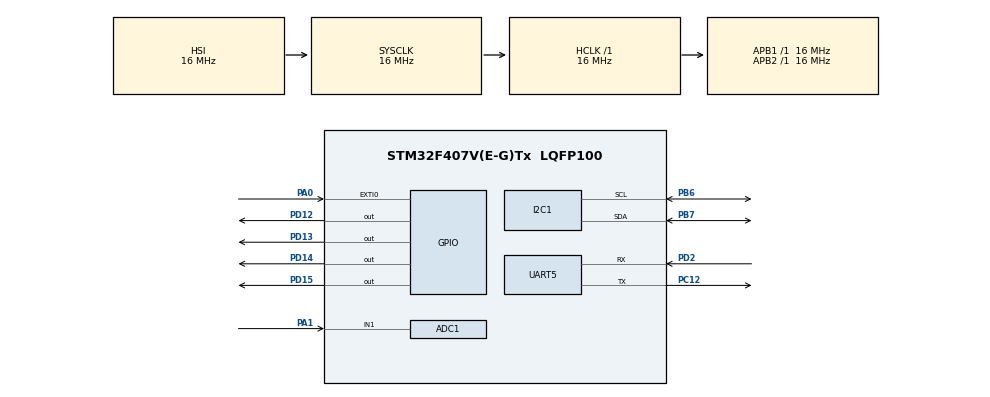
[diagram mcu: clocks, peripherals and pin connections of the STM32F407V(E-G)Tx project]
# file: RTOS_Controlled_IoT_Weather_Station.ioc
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ADC1.Channel-0\#ChannelRegularConversion=ADC_CHANNEL_1
ADC1.NbrOfConversionFlag=1
ADC1.Rank-0\#ChannelRegularConversion=1
ADC1.SamplingTime-0\#ChannelRegularConversion=ADC_SAMPLETIME_3CYCLES
ADC1.master=1
Dma.Request0=UART5_RX
Dma.Request1=UART5_TX
Dma.UART5_RX.0.Direction=DMA_PERIPH_TO_MEMORY
Dma.UART5_RX.0.FIFOMode=DMA_FIFOMODE_DISABLE
Dma.UART5_RX.0.Instance=DMA1_Stream0
Dma.UART5_RX.0.MemDataAlignment=DMA_MDATAALIGN_BYTE
Dma.UART5_RX.0.MemInc=DMA_MINC_ENABLE
Dma.UART5_RX.0.Mode=DMA_NORMAL
Dma.UART5_RX.0.PeriphDataAlignment=DMA_PDATAALIGN_BYTE
Dma.UART5_RX.0.PeriphInc=DMA_PINC_DISABLE
Dma.UART5_RX.0.Priority=DMA_PRIORITY_LOW
Dma.UART5_TX.1.Direction=DMA_MEMORY_TO_PERIPH
Dma.UART5_TX.1.FIFOMode=DMA_FIFOMODE_DISABLE
Dma.UART5_TX.1.Instance=DMA1_Stream7
Dma.UART5_TX.1.MemDataAlignment=DMA_MDATAALIGN_BYTE
Dma.UART5_TX.1.MemInc=DMA_MINC_ENABLE
Dma.UART5_TX.1.Mode=DMA_NORMAL
Dma.UART5_TX.1.PeriphDataAlignment=DMA_PDATAALIGN_BYTE
Dma.UART5_TX.1.PeriphInc=DMA_PINC_DISABLE
Dma.UART5_TX.1.Priority=DMA_PRIORITY_LOW
I2C1.AddressingMode=I2C_ADDRESSINGMODE_10BIT
I2C1.OwnAddress=0xEC
Mcu.Family=STM32F4
Mcu.Name=STM32F407V(E-G)Tx
Mcu.Package=LQFP100
NVIC.DMA1_Stream0_IRQn=true\:0\:0\:false\:false\:true\:false\:true\:true
NVIC.DMA1_Stream7_IRQn=true\:0\:0\:false\:false\:true\:false\:true\:true
NVIC.EXTI0_IRQn=true\:0\:0\:false\:false\:true\:true\:true\:true
NVIC.PriorityGroup=NVIC_PRIORITYGROUP_4
NVIC.TIM1_UP_TIM10_IRQn=true\:15\:0\:false\:false\:true\:false\:true\:true
NVIC.TimeBase=TIM1_UP_TIM10_IRQn
NVIC.TimeBaseIP=TIM1
PA0-WKUP.Signal=GPXTI0
PA1.GPIO_PuPd=GPIO_NOPULL
PA1.Signal=ADCx_IN1
PB6.Mode=I2C
PB6.Signal=I2C1_SCL
PB7.Mode=I2C
PB7.Signal=I2C1_SDA
PC12.Mode=Asynchronous
PC12.Signal=UART5_TX
PD12.Signal=GPIO_Output
PD13.Signal=GPIO_Output
PD14.Signal=GPIO_Output
PD15.Signal=GPIO_Output
PD2.Mode=Asynchronous
PD2.Signal=UART5_RX
ProjectManager.HeapSize=0x200
ProjectManager.StackSize=0x400
ProjectManager.TargetToolchain=STM32CubeIDE
RCC.AHBFreq_Value=16000000
RCC.APB1Freq_Value=16000000
RCC.APB2Freq_Value=16000000
RCC.CortexFreq_Value=16000000
RCC.HSE_VALUE=25000000
RCC.HSI_VALUE=16000000
RCC.LSE_VALUE=32768
RCC.SYSCLKFreq_VALUE=16000000
RCC.VCOOutputFreq_Value=192000000
SH.ADCx_IN1.0=ADC1_IN1,IN1
UART5.VirtualMode=Asynchronous
VP_SYS_VS_tim1.Mode=TIM1
board=custom

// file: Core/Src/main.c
/* USER CODE BEGIN Header */
/**
  ******************************************************************************
  * @file           : main.c
  * @brief          : Main program body
  ******************************************************************************
  * @attention
  *
  * Copyright (c) 2025 STMicroelectronics.
  * All rights reserved.
  *
  * This software is licensed under terms that can be found in the LICENSE file
  * in the root directory of this software component.
  * If no LICENSE file comes with this software, it is provided AS-IS.
  *
  ******************************************************************************
  */
/* USER CODE END Header */
#include "main.h"

/* USER CODE BEGIN Includes */
#include "stdio.h"
#include "stdlib.h"
#include "string.h"
#include "math.h"

#include "FreeRTOS.h"
#include "task.h"
#include "timers.h"
#include "queue.h"
#include "semphr.h"
#include "event_groups.h"
#include "SEGGER_SYSVIEW.h"

#include "BME280_STM32.h"
#include "service_api.h"
#include "struct.h"

/* USER CODE END Includes */

/* USER CODE BEGIN PD */
#define DEBUG 1

#define CRC8_POLYNOMIAL 0x07  // Standard SMBus CRC-8
#define CRC8_INIT 0xFF        // Initial CRC value
#define RL 10.0  // Load resistor in kΩ

// CO2 Constants
#define A_CO2 116.6020682
#define B_CO2 -2.769034857
#define R0_CO2 47.50
// Ammonia (NH3) Constants
#define A_NH3 102.2
#define B_NH3 -2.473
#define R0_NH3 1.86
// Ethanol Constants
#define A_Ethanol 77.255
#define B_Ethanol -3.18
#define R0_Ethanol 3.75

/* USER CODE END PD */

ADC_HandleTypeDef hadc1;

I2C_HandleTypeDef hi2c1;

UART_HandleTypeDef huart5;

/* USER CODE BEGIN PV */

// Task Handles
//Sensordata_t SD;//Already defined in struct.h for actual data holding so no need to define here.
Sensordata_t SensorData;//defined in struct.h for data use in the tasks

SemaphoreHandle_t SensorDataMutex;

TaskHandle_t SensorTaskHandle;
TaskHandle_t DisplayTaskHandle;
TaskHandle_t UartTaskHandle;

volatile uint8_t buttonPressed = 0;

char uartBuff[100];

/* USER CODE END PV */

void SystemClock_Config(void);
static void MX_GPIO_Init(void);
static void MX_ADC1_Init(void);
static void MX_I2C1_Init(void);
static void MX_UART5_Init(void);
/* USER CODE BEGIN PFP */
void Task_SensorRead(void *pvParameters);
void Task_DisplayUpdate(void *pvParameters);
void Task_UARTSend(void *pvParameters);

void HAL_GPIO_EXTI_Callback(uint16_t GPIO_Pin);

uint8_t Calculate_CRC8(const uint8_t *data, uint8_t len);
void Write_SensorData(Sensordata_t *data);
void Read_SensorData(Sensordata_t *data);
void HAL_UART_Receive_Service(void);
float calculate_ppm(float, float, float, float);

/* USER CODE END PFP */

int main(void)
{

  /* MCU Configuration--------------------------------------------------------*/

  /* Reset of all peripherals, Initializes the Flash interface and the Systick. */
  HAL_Init();

  /* Configure the system clock */
  SystemClock_Config();

  /* Initialize all configured peripherals */
  MX_GPIO_Init();
  MX_ADC1_Init();
  MX_I2C1_Init();
  MX_UART5_Init();
  /* USER CODE BEGIN 2 */

  SEGGER_SYSVIEW_Conf();
  HAL_NVIC_SetPriorityGrouping(NVIC_PRIORITYGROUP_4);	//ensure proper priority grouping for freeRTOS//?
  HAL_NVIC_SetPriority(SysTick_IRQn, 15, 0);//?

  // Initialize BME280
  BME280_Config(OSRS_2, OSRS_16, OSRS_1, MODE_NORMAL, T_SB_0p5, IIR_16);

  // Create RTOS Queue & Semaphore
  SensorDataMutex = xSemaphoreCreateMutex();
  assert_param(SensorDataMutex!=NULL);

  /* Create RTOS Tasks */
  assert_param(xTaskCreate(Task_SensorRead, "SensorTask", 1024, NULL, 3, &SensorTaskHandle) == pdPASS);
  assert_param(xTaskCreate(Task_DisplayUpdate, "DisplayTask", 1024, NULL, 2, &DisplayTaskHandle) == pdPASS);
  assert_param(xTaskCreate(Task_UARTSend, "UartTask", 1024, NULL, 1, &UartTaskHandle) == pdPASS);

  /* Start Scheduler */
  vTaskStartScheduler();

  /* USER CODE END 2 */

  /* Infinite loop */
  while (1)
  {

  }
}

void SystemClock_Config(void)
{
  RCC_OscInitTypeDef RCC_OscInitStruct = {0};
  RCC_ClkInitTypeDef RCC_ClkInitStruct = {0};

  /** Configure the main internal regulator output voltage
  */
  __HAL_RCC_PWR_CLK_ENABLE();
  __HAL_PWR_VOLTAGESCALING_CONFIG(PWR_REGULATOR_VOLTAGE_SCALE1);

  /** Initializes the RCC Oscillators according to the specified parameters
  * in the RCC_OscInitTypeDef structure.
  */
  RCC_OscInitStruct.OscillatorType = RCC_OSCILLATORTYPE_HSI;
  RCC_OscInitStruct.HSIState = RCC_HSI_ON;
  RCC_OscInitStruct.HSICalibrationValue = RCC_HSICALIBRATION_DEFAULT;
  RCC_OscInitStruct.PLL.PLLState = RCC_PLL_NONE;
  if (HAL_RCC_OscConfig(&RCC_OscInitStruct) != HAL_OK)
  {
    Error_Handler();
  }

  /** Initializes the CPU, AHB and APB buses clocks
  */
  RCC_ClkInitStruct.ClockType = RCC_CLOCKTYPE_HCLK|RCC_CLOCKTYPE_SYSCLK
                              |RCC_CLOCKTYPE_PCLK1|RCC_CLOCKTYPE_PCLK2;
  RCC_ClkInitStruct.SYSCLKSource = RCC_SYSCLKSOURCE_HSI;
  RCC_ClkInitStruct.AHBCLKDivider = RCC_SYSCLK_DIV1;
  RCC_ClkInitStruct.APB1CLKDivider = RCC_HCLK_DIV1;
  RCC_ClkInitStruct.APB2CLKDivider = RCC_HCLK_DIV1;

  if (HAL_RCC_ClockConfig(&RCC_ClkInitStruct, FLASH_LATENCY_0) != HAL_OK)
  {
    Error_Handler();
  }
}

static void MX_ADC1_Init(void)
{

  ADC_ChannelConfTypeDef sConfig = {0};

  /** Configure the global features of the ADC (Clock, Resolution, Data Alignment and number of conversion)
  */
  hadc1.Instance = ADC1;
  hadc1.Init.ClockPrescaler = ADC_CLOCK_SYNC_PCLK_DIV2;
  hadc1.Init.Resolution = ADC_RESOLUTION_12B;
  hadc1.Init.ScanConvMode = DISABLE;
  hadc1.Init.ContinuousConvMode = DISABLE;
  hadc1.Init.DiscontinuousConvMode = DISABLE;
  hadc1.Init.ExternalTrigConvEdge = ADC_EXTERNALTRIGCONVEDGE_NONE;
  hadc1.Init.ExternalTrigConv = ADC_SOFTWARE_START;
  hadc1.Init.DataAlign = ADC_DATAALIGN_RIGHT;
  hadc1.Init.NbrOfConversion = 1;
  hadc1.Init.DMAContinuousRequests = DISABLE;
  hadc1.Init.EOCSelection = ADC_EOC_SINGLE_CONV;
  if (HAL_ADC_Init(&hadc1) != HAL_OK)
  {
    Error_Handler();
  }

  /** Configure for the selected ADC regular channel its corresponding rank in the sequencer and its sample time.
  */
  sConfig.Channel = ADC_CHANNEL_1;
  sConfig.Rank = 1;
  sConfig.SamplingTime = ADC_SAMPLETIME_3CYCLES;
  if (HAL_ADC_ConfigChannel(&hadc1, &sConfig) != HAL_OK)
  {
    Error_Handler();
  }

}

static void MX_I2C1_Init(void)
{

  hi2c1.Instance = I2C1;
  hi2c1.Init.ClockSpeed = 100000;
  hi2c1.Init.DutyCycle = I2C_DUTYCYCLE_2;
  hi2c1.Init.OwnAddress1 = 236;
  hi2c1.Init.AddressingMode = I2C_ADDRESSINGMODE_10BIT;
  hi2c1.Init.DualAddressMode = I2C_DUALADDRESS_DISABLE;
  hi2c1.Init.OwnAddress2 = 0;
  hi2c1.Init.GeneralCallMode = I2C_GENERALCALL_DISABLE;
  hi2c1.Init.NoStretchMode = I2C_NOSTRETCH_DISABLE;
  if (HAL_I2C_Init(&hi2c1) != HAL_OK)
  {
    Error_Handler();
  }

}

static void MX_UART5_Init(void)
{

  huart5.Instance = UART5;
  huart5.Init.BaudRate = 115200;
  huart5.Init.WordLength = UART_WORDLENGTH_8B;
  huart5.Init.StopBits = UART_STOPBITS_1;
  huart5.Init.Parity = UART_PARITY_NONE;
  huart5.Init.Mode = UART_MODE_TX_RX;
  huart5.Init.HwFlowCtl = UART_HWCONTROL_NONE;
  huart5.Init.OverSampling = UART_OVERSAMPLING_16;
  if (HAL_UART_Init(&huart5) != HAL_OK)
  {
    Error_Handler();
  }

}

static void MX_GPIO_Init(void)
{
  GPIO_InitTypeDef GPIO_InitStruct = {0};

  /* GPIO Ports Clock Enable */
  __HAL_RCC_GPIOA_CLK_ENABLE();
  __HAL_RCC_GPIOD_CLK_ENABLE();
  __HAL_RCC_GPIOC_CLK_ENABLE();
  __HAL_RCC_GPIOB_CLK_ENABLE();

  /*Configure GPIO pin Output Level */
  HAL_GPIO_WritePin(GPIOD, GPIO_PIN_12|GPIO_PIN_13|GPIO_PIN_14|GPIO_PIN_15, GPIO_PIN_RESET);

  /*Configure GPIO pin : PA0 */
  GPIO_InitStruct.Pin = GPIO_PIN_0;
  GPIO_InitStruct.Mode = GPIO_MODE_IT_RISING;
  GPIO_InitStruct.Pull = GPIO_NOPULL;
  HAL_GPIO_Init(GPIOA, &GPIO_InitStruct);

  /*Configure GPIO pins : PD12 PD13 PD14 PD15 */
  GPIO_InitStruct.Pin = GPIO_PIN_12|GPIO_PIN_13|GPIO_PIN_14|GPIO_PIN_15;
  GPIO_InitStruct.Mode = GPIO_MODE_OUTPUT_PP;
  GPIO_InitStruct.Pull = GPIO_NOPULL;
  GPIO_InitStruct.Speed = GPIO_SPEED_FREQ_LOW;
  HAL_GPIO_Init(GPIOD, &GPIO_InitStruct);

  /* EXTI interrupt init*/
  HAL_NVIC_SetPriority(EXTI0_IRQn, 0, 0);
  HAL_NVIC_EnableIRQ(EXTI0_IRQn);

}

/* USER CODE BEGIN 4 */
void Task_SensorRead(void *pvParameters)
{
    while (1)
    {
	#ifdef DEBUG
        SEGGER_SYSVIEW_PrintfHost("Task_SensorRead is running");
    #endif

        BME280_Measure();

        SD.ADC_Value = Read_ADC_Value(&hadc1);

        SD.mq135_voltage = ((SD.ADC_Value * 5.0) / 4095.0);
        SD.Rs = ((5.0 - SD.mq135_voltage) / SD.mq135_voltage) * RL;

        SD.Co2     = 10*(calculate_ppm(SD.Rs, R0_CO2, A_CO2, B_CO2));
        SD.NH3     = calculate_ppm(SD.Rs, R0_NH3, A_NH3, B_NH3);
        SD.Ethanol = calculate_ppm(SD.Rs, R0_Ethanol, A_Ethanol, B_Ethanol);
        SD.AQI = ((SD.Co2 / 10) * 0.5) + ((SD.NH3 * 100) * 0.25) + ((SD.Ethanol * 100) * 0.25);

	#ifdef DEBUG
        SEGGER_SYSVIEW_PrintfHost("Sensor Read Collected");
	#endif

        Write_SensorData(&SD);

	#ifdef DEBUG
        SEGGER_SYSVIEW_PrintfHost("T=%.2f,P=%2f,H=.2f,Co2=%.2f,NH3=%2f,Eth=.2f,AQI=%.2f",SD.Temperature,SD.Pressure,SD.Humidity,SD.Co2,SD.NH3,SD.Ethanol,SD.AQI);
	#endif

	#ifdef DEBUG
        SEGGER_SYSVIEW_PrintfHost("Task_SensorRead Complete Before Delay");
	#endif

        vTaskDelay(500);
	#ifdef DEBUG
        SEGGER_SYSVIEW_PrintfHost("Task_SensorRead Complete After Delay");
	#endif
    }
}

void Task_DisplayUpdate(void *pvParameters)
{
    while (1)
    {
	#ifdef DEBUG
        SEGGER_SYSVIEW_PrintfHost("Task_DisplayUpdate Running");
	#endif

        if (buttonPressed)
        {
            // Send button press event to ESP32
            char displayBuff[20];
            snprintf(displayBuff, sizeof(displayBuff), "PAGE=%d", buttonPressed);
            UART_Transmit_Service((uint8_t *)displayBuff, strlen(displayBuff));

	#ifdef DEBUG
            SEGGER_SYSVIEW_PrintfHost("Button Press Data Sent via UART");
	#endif

            buttonPressed = 0;  // Reset button flag
        }
	#ifdef DEBUG
        SEGGER_SYSVIEW_PrintfHost("Task_DisplayUpdate Complete Before Delay");
	#endif

        vTaskDelay(100);

	#ifdef DEBUG
        SEGGER_SYSVIEW_PrintfHost("Task_DisplayUpdate After Delay Complete");
	#endif
    }
}

void Task_UARTSend(void *pvParameters)
{
    while (1)
    {
	#ifdef DEBUG
        SEGGER_SYSVIEW_PrintfHost("Task_UARTSend Running");
	#endif

        Sensordata_t tempData;
        Read_SensorData(&tempData);

        // Format sensor data as CSV
        snprintf(uartBuff, sizeof(uartBuff), "@%.2f,%.2f,%.2f,%.2f,%.2f,%.2f,%.2f",
                 tempData.Temperature, tempData.Pressure, tempData.Humidity,
                 tempData.Co2, tempData.NH3, tempData.Ethanol, tempData.AQI);

        uint8_t crc = Calculate_CRC8((uint8_t *)uartBuff, strlen(uartBuff)); // Compute CRC
        snprintf(uartBuff + strlen(uartBuff), sizeof(uartBuff) - strlen(uartBuff), ",%02X,@", crc);

        UART_Transmit_Service((uint8_t *)uartBuff, strlen(uartBuff));

        uint8_t rxBuffer[20];
        if (!UART_Receive_Service(rxBuffer, sizeof(rxBuffer)))
        {
            SEGGER_SYSVIEW_PrintfHost("Retrying UART Transmission...");
            UART_Transmit_Service((uint8_t *)uartBuff, strlen(uartBuff));
        }

	#ifdef DEBUG
        SEGGER_SYSVIEW_PrintfHost("Task_UARTSend Complete Before Delay");
	#endif

        vTaskDelay(1000);

	#ifdef DEBUG
        SEGGER_SYSVIEW_PrintfHost("Task_UARTSend Complete After Delay");
	#endif
    }
}

void HAL_GPIO_EXTI_Callback(uint16_t GPIO_Pin)
{
    static uint32_t lastPressTime = 0;

    if (GPIO_Pin == GPIO_PIN_0)  // Button on PA0
    {
        if (HAL_GetTick() - lastPressTime > 10)  // Debounce check
        {
            buttonPressed++;
            if (buttonPressed > 3)
            {
            	buttonPressed = 1;
            }

            HAL_Delay(50);  // Extra debounce delay
        }
        lastPressTime = HAL_GetTick();
    }
}

uint8_t Calculate_CRC8(const uint8_t *data, uint8_t len)
{
    uint8_t crc = CRC8_INIT;

    for (uint8_t i = 0; i < len; i++)
    {
        crc ^= data[i];  // XOR with input byte

        for (uint8_t j = 0; j < 8; j++)
        {  // Process each bit
            if (crc & 0x80)  // If MSB is 1
                crc = (crc << 1) ^ CRC8_POLYNOMIAL;
            else
                crc = (crc << 1);
        }
    }
	#ifdef DEBUG
        SEGGER_SYSVIEW_PrintfHost("CRC = %d",crc);
	#endif

    return crc;  // Return final CRC
}

float calculate_ppm(float Rs, float R0, float A, float B)
{
    return A * pow((Rs / R0), B);
}

/* USER CODE END 4 */

void HAL_TIM_PeriodElapsedCallback(TIM_HandleTypeDef *htim)
{
  if (htim->Instance == TIM1) {
    HAL_IncTick();
  }
}

void Error_Handler(void)
{
  __disable_irq();
  while (1)
  {
  }
}

#ifdef  USE_FULL_ASSERT
/**
  * @brief  Reports the name of the source file and the source line number
  *         where the assert_param error has occurred.
  * @param  file: pointer to the source file name
  * @param  line: assert_param error line source number
  * @retval None
  */
void assert_failed(uint8_t *file, uint32_t line)
{
  /* USER CODE BEGIN 6 */
  /* User can add his own implementation to report the file name and line number,
     ex: printf("Wrong parameters value: file %s on line %d\r\n", file, line) */
	SEGGER_SYSVIEW_PrintfHost("Assertion Failed:file %s on line %d\r\n", file, line);
	while(1);

  /* USER CODE END 6 */
}
#endif /* USE_FULL_ASSERT */
